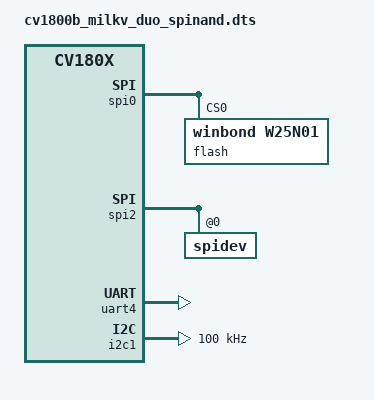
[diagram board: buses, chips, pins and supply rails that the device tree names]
/dts-v1/;
#include "cv180x_base_riscv.dtsi"
#include "cv180x_asic_qfn.dtsi"
#include "cv180x_asic_spinand.dtsi"
#include "cv180x_default_memmap.dtsi"

&mipi_rx{
	snsr-reset = <&portc 8 GPIO_ACTIVE_LOW>, <&portc 8 GPIO_ACTIVE_LOW>, <&portc 8 GPIO_ACTIVE_LOW>;
};

&spi0 {
        status = "okay";
        flash@0 {
                compatible = "winbond,w25n01", "spi-nand";
                reg = <0>;
        };
};


&spi2 {
	status = "okay";

	spidev@0 {
		status = "okay";
	};
};

&uart4 {
	status = "okay";
};

&i2c1 {
       status = "okay";
       clock-frequency = <100000>;
};

/ {

};
